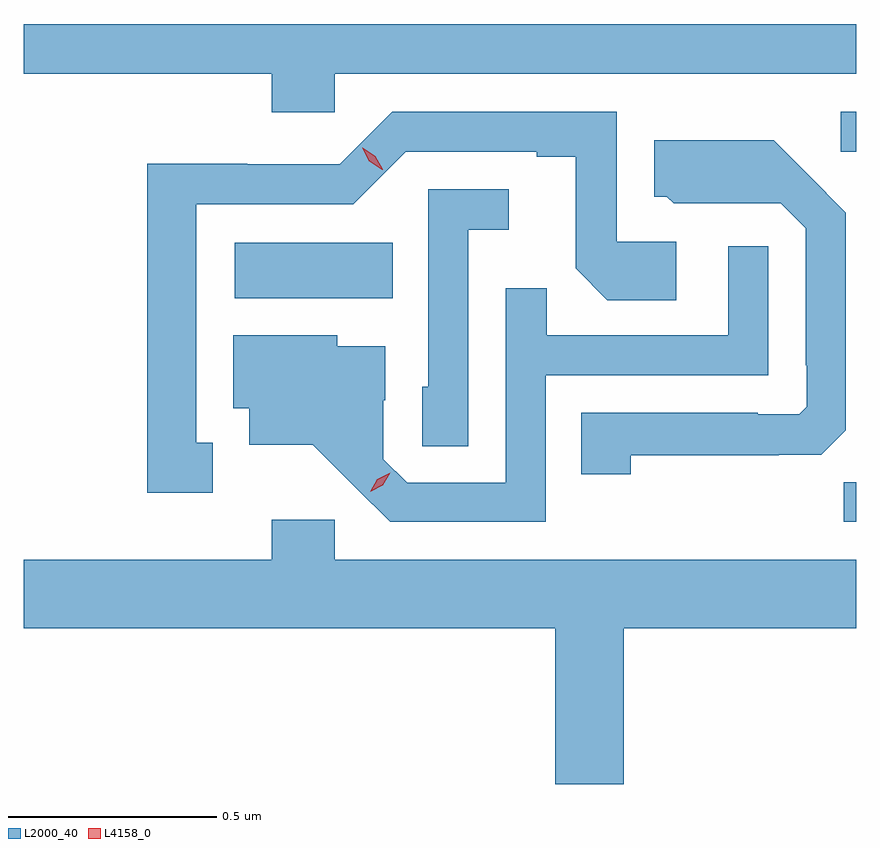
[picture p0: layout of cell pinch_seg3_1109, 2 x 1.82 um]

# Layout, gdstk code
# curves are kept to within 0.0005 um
import gdstk
lib = gdstk.Library(unit=1e-6, precision=1e-09)
def R(c, l, rs):  # rectangles x0, y0, x1, y1
    for r in rs: c.add(gdstk.rectangle(r[:2], r[2:], *l))
def P(c, l, *ps):  # polygons
    for p in ps: c.add(gdstk.Polygon(p, *l))
L2000_40 = (2000, 40)
L4158_0 = (4158, 0)

pinch_seg3_1109 = lib.new_cell('pinch_seg3_1109')
R(pinch_seg3_1109, L2000_40, [(321.544,685.188,321.575,685.283), (320.082,685.724,320.462,685.858), (321.537,686.076,321.575,686.172)])
P(pinch_seg3_1109, L2000_40, [(320.322,686.264),(321.575,686.264),(321.575,686.383),(319.575,686.383),(319.575,686.264),(320.171,686.264),(320.171,686.171),(320.322,686.171)],
  [(320.029,685.377),(319.99,685.377),(319.99,685.95),(320.367,685.95),(320.493,686.076),(320.807,686.076),(320.807,686.064),(320.901,686.064),(320.901,685.796),(320.977,685.72),(321.142,685.72),(321.142,685.86),(321,685.86),(321,686.172),(320.46,686.172),(320.334,686.046),(320.112,686.046),(320.112,686.048),(319.872,686.048),(319.872,685.257),(320.029,685.257)],
  [(321.033,685.348),(321.389,685.348),(321.389,685.349),(321.49,685.349),(321.549,685.408),(321.549,685.93),(321.377,686.104),(321.089,686.104),(321.089,685.968),(321.12,685.968),(321.136,685.952),(321.27,685.952),(321.27,685.953),(321.393,685.953),(321.453,685.893),(321.453,685.564),(321.456,685.564),(321.456,685.464),(321.438,685.446),(321.338,685.446),(321.338,685.449),(320.914,685.449),(320.914,685.302),(321.033,685.302)],
  [(320.643,685.889),(320.74,685.889),(320.74,685.986),(320.547,685.986),(320.547,685.512),(320.532,685.512),(320.532,685.369),(320.643,685.369)],
  [(320.829,685.539),(321.363,685.539),(321.363,685.849),(321.267,685.849),(321.267,685.635),(320.831,685.635),(320.831,685.748),(320.733,685.748),(320.733,685.281),(320.496,685.281),(320.439,685.338),(320.439,685.48),(320.443,685.48),(320.443,685.609),(320.328,685.609),(320.328,685.636),(320.078,685.636),(320.078,685.46),(320.117,685.46),(320.117,685.373),(320.269,685.373),(320.456,685.188),(320.829,685.188)],
  [(321.016,684.932),(321.575,684.932),(321.575,685.096),(320.322,685.096),(320.322,685.192),(320.171,685.192),(320.171,685.096),(319.575,685.096),(319.575,684.932),(320.852,684.932),(320.852,684.558),(321.016,684.558)])
P(pinch_seg3_1109, L4158_0, [(320.407,685.26),(320.407,685.26),(320.424,685.29),(320.455,685.305),(320.456,685.305),(320.456,685.305),(320.438,685.275),(320.407,685.26)],
  [(320.436,686.033),(320.405,686.053),(320.388,686.086),(320.388,686.086),(320.389,686.086),(320.42,686.066),(320.437,686.034),(320.437,686.033)])

lib.write_gds('pinch_seg3_1109.gds')
